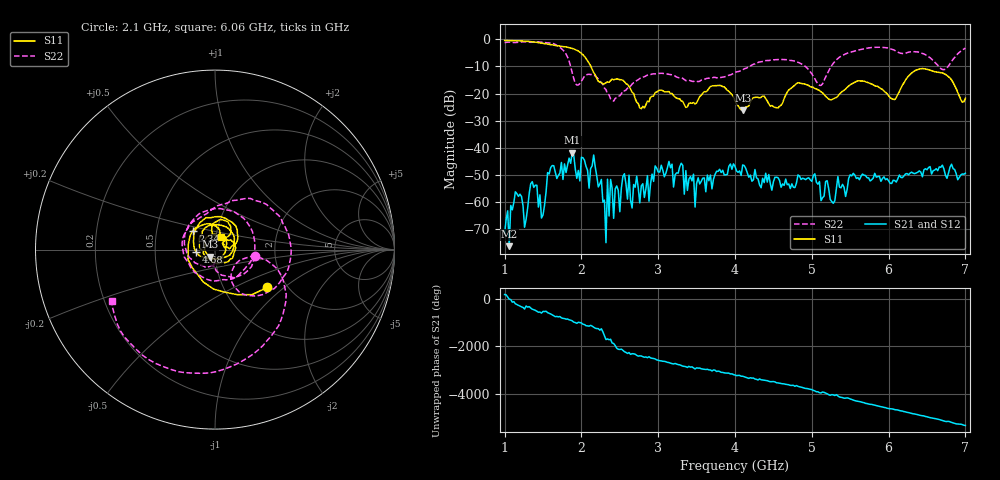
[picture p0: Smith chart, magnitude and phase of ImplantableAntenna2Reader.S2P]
!Agilent Technologies,E5071C,MY46108331,A.09.41
!Date: Mon Jan 01 01:56:33 2001
!Data & Calibration Information:
!Freq	S11:SOLT2(ON)	S21:SOLT2(ON)	S12:SOLT2(ON)	S22:SOLT2(ON)
# Hz S RI R 50
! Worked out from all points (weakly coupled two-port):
!   301 points, 1 GHz to 7 GHz, reference 50 ohm
!   highest |S21| = -41.85 dB at 1.88 GHz (marker M1); lowest = -76.3 dB at 1.06 GHz (marker M2)
!   lowest |S11| = -26.2 dB at 4.1 GHz (marker M3), VSWR 1.10, Z = 47 - j3.73 ohm
!   |S11| at or under -10 dB: 2.124 GHz to end of sweep
!   |S22| runs from -22.8 to -0.9 dB; largest |S21 - S12| = 4.8e-05
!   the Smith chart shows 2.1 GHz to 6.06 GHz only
!   S11 on the Smith chart (normalised r, x): 2.1 GHz: 1.60, -0.77; 2.34 GHz: 0.76, +0.16; 4.68 GHz: 0.81, -0.02; 6.06 GHz: 1.05, +0.15
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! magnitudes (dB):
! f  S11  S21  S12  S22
! 1 GHz  -0.4  -71.6  -71.7  -1.3
! 1.06 GHz  -0.5  -76.3  -76.3  -1.0
! 1.14 GHz  -0.5  -56.2  -56.2  -1.2
! 1.48 GHz  -1.4  -65.9  -65.8  -1.1
! 1.88 GHz  -3.4  -41.8  -41.9  -12.3
! 2 GHz  -5.2  -43.5  -43.5  -15.5
! 2.1 GHz  -8.9  -54.9  -55.0  -12.9
! 2.26 GHz  -15.9  -51.7  -51.7  -16.1
! 2.32 GHz  -16.0  -75.0  -73.7  -18.6
! 2.34 GHz  -15.7  -51.6  -51.6  -20.1
! 2.42 GHz  -14.9  -66.0  -66.4  -22.8
! 2.56 GHz  -15.6  -49.6  -49.6  -19.0
! 2.66 GHz  -19.5  -62.2  -62.2  -16.5
! 3 GHz  -19.0  -48.9  -48.9  -12.5
! 3.48 GHz  -23.9  -61.9  -62.0  -15.4
! 4 GHz  -22.7  -46.9  -46.9  -12.2
! 4.1 GHz  -26.2  -46.4  -46.4  -11.3
! 4.68 GHz  -19.5  -53.6  -53.6  -7.5
! 5 GHz  -17.6  -52.4  -52.4  -12.7
! 6 GHz  -20.8  -52.2  -52.2  -3.3
! 6.06 GHz  -22.2  -52.0  -51.9  -3.8
! 7 GHz  -21.7  -49.4  -49.4  -3.3
